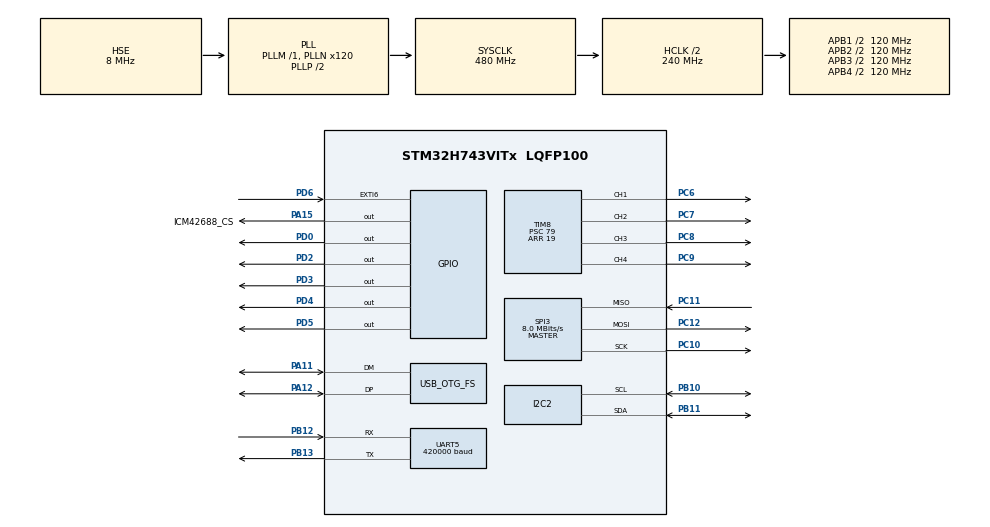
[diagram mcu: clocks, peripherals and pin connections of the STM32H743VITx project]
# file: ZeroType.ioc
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CORTEX_M7.default_mode_Activation=1
Dma.Request0=TIM8_UP
Dma.TIM8_UP.0.Direction=DMA_MEMORY_TO_PERIPH
Dma.TIM8_UP.0.EventEnable=DISABLE
Dma.TIM8_UP.0.FIFOMode=DMA_FIFOMODE_DISABLE
Dma.TIM8_UP.0.Instance=DMA1_Stream0
Dma.TIM8_UP.0.MemDataAlignment=DMA_MDATAALIGN_WORD
Dma.TIM8_UP.0.MemInc=DMA_MINC_ENABLE
Dma.TIM8_UP.0.Mode=DMA_NORMAL
Dma.TIM8_UP.0.PeriphDataAlignment=DMA_PDATAALIGN_WORD
Dma.TIM8_UP.0.PeriphInc=DMA_PINC_DISABLE
Dma.TIM8_UP.0.Polarity=HAL_DMAMUX_REQ_GEN_RISING
Dma.TIM8_UP.0.Priority=DMA_PRIORITY_VERY_HIGH
Dma.TIM8_UP.0.RequestNumber=1
Dma.TIM8_UP.0.SignalID=NONE
Dma.TIM8_UP.0.SyncEnable=DISABLE
Dma.TIM8_UP.0.SyncPolarity=HAL_DMAMUX_SYNC_NO_EVENT
Dma.TIM8_UP.0.SyncRequestNumber=1
Dma.TIM8_UP.0.SyncSignalID=NONE
I2C2.Timing=0x307075B1
Mcu.Family=STM32H7
Mcu.Name=STM32H743VITx
Mcu.Package=LQFP100
NVIC.DMA1_Stream0_IRQn=true\:6\:0\:true\:false\:true\:false\:true\:true
NVIC.EXTI9_5_IRQn=true\:6\:0\:true\:false\:true\:true\:true\:true
NVIC.OTG_FS_IRQn=true\:6\:0\:true\:false\:true\:false\:true\:true
NVIC.PriorityGroup=NVIC_PRIORITYGROUP_4
NVIC.TIM6_DAC_IRQn=true\:15\:0\:false\:false\:true\:false\:true\:true
NVIC.TimeBase=TIM6_DAC_IRQn
NVIC.TimeBaseIP=TIM6
NVIC.UART5_IRQn=true\:1\:0\:true\:false\:true\:true\:true\:true
PA11.Mode=Device_Only
PA11.Signal=USB_OTG_FS_DM
PA12.Mode=Device_Only
PA12.Signal=USB_OTG_FS_DP
PA13\ (JTMS/SWDIO).Mode=Serial_Wire
PA13\ (JTMS/SWDIO).Signal=DEBUG_JTMS-SWDIO
PA14\ (JTCK/SWCLK).Mode=Serial_Wire
PA14\ (JTCK/SWCLK).Signal=DEBUG_JTCK-SWCLK
PA15\ (JTDI).GPIO_Label=ICM42688_CS
PA15\ (JTDI).GPIO_Speed=GPIO_SPEED_FREQ_VERY_HIGH
PA15\ (JTDI).PinState=GPIO_PIN_SET
PA15\ (JTDI).Signal=GPIO_Output
PB10.Mode=I2C
PB10.Signal=I2C2_SCL
PB11.Mode=I2C
PB11.Signal=I2C2_SDA
PB12.GPIO_Speed=GPIO_SPEED_FREQ_VERY_HIGH
PB12.Mode=Asynchronous
PB12.Signal=UART5_RX
PB13.GPIO_Speed=GPIO_SPEED_FREQ_VERY_HIGH
PB13.Mode=Asynchronous
PB13.Signal=UART5_TX
PC10.GPIO_Speed=GPIO_SPEED_FREQ_VERY_HIGH
PC10.Mode=Full_Duplex_Master
PC10.Signal=SPI3_SCK
PC11.GPIO_Speed=GPIO_SPEED_FREQ_VERY_HIGH
PC11.Mode=Full_Duplex_Master
PC11.Signal=SPI3_MISO
PC12.GPIO_Speed=GPIO_SPEED_FREQ_VERY_HIGH
PC12.Mode=Full_Duplex_Master
PC12.Signal=SPI3_MOSI
PC6.GPIO_Speed=GPIO_SPEED_FREQ_VERY_HIGH
PC6.Signal=S_TIM8_CH1
PC7.GPIO_Speed=GPIO_SPEED_FREQ_VERY_HIGH
PC7.Signal=S_TIM8_CH2
PC8.GPIO_Speed=GPIO_SPEED_FREQ_VERY_HIGH
PC8.Signal=S_TIM8_CH3
PC9.GPIO_Speed=GPIO_SPEED_FREQ_VERY_HIGH
PC9.Signal=S_TIM8_CH4
PD0.Signal=GPIO_Output
PD2.Signal=GPIO_Output
PD3.Signal=GPIO_Output
PD4.Signal=GPIO_Output
PD5.Signal=GPIO_Output
PD6.Signal=GPXTI6
PH0-OSC_IN\ (PH0).Mode=HSE-External-Oscillator
PH0-OSC_IN\ (PH0).Signal=RCC_OSC_IN
PH1-OSC_OUT\ (PH1).Mode=HSE-External-Oscillator
PH1-OSC_OUT\ (PH1).Signal=RCC_OSC_OUT
ProjectManager.HeapSize=0x1000
ProjectManager.StackSize=0x1000
ProjectManager.TargetToolchain=CMake
RCC.ADCFreq_Value=16125000
RCC.APB1Freq_Value=120000000
RCC.APB2Freq_Value=120000000
RCC.APB3Freq_Value=120000000
RCC.APB4Freq_Value=120000000
RCC.CortexFreq_Value=480000000
RCC.D1PPRE=RCC_APB3_DIV2
RCC.D2PPRE1=RCC_APB1_DIV2
RCC.D2PPRE2=RCC_APB2_DIV2
RCC.D3PPRE=RCC_APB4_DIV2
RCC.DIVM1=1
RCC.DIVN1=120
RCC.DIVQ1=15
RCC.HCLKFreq_Value=240000000
RCC.HPRE=RCC_HCLK_DIV2
RCC.HSE_VALUE=8000000
RCC.PLL2FRACN=0
RCC.PLL3FRACN=0
RCC.PLLFRACN=0
RCC.PLLSourceVirtual=RCC_PLLSOURCE_HSE
RCC.SYSCLKFreq_VALUE=480000000
RCC.SYSCLKSource=RCC_SYSCLKSOURCE_PLLCLK
RCC.USBCLockSelection=RCC_USBCLKSOURCE_HSI48
RCC.USBFreq_Value=48000000
SH.S_TIM8_CH1.0=TIM8_CH1,PWM Generation1 CH1
SH.S_TIM8_CH2.0=TIM8_CH2,PWM Generation2 CH2
SH.S_TIM8_CH3.0=TIM8_CH3,PWM Generation3 CH3
SH.S_TIM8_CH4.0=TIM8_CH4,PWM Generation4 CH4
SPI3.BaudRatePrescaler=SPI_BAUDRATEPRESCALER_8
SPI3.CalculateBaudRate=8.0 MBits/s
SPI3.DataSize=SPI_DATASIZE_8BIT
SPI3.Direction=SPI_DIRECTION_2LINES
SPI3.Mode=SPI_MODE_MASTER
SPI3.VirtualType=VM_MASTER
TIM8.Channel-PWM\ Generation1\ CH1=TIM_CHANNEL_1
TIM8.Channel-PWM\ Generation2\ CH2=TIM_CHANNEL_2
TIM8.Channel-PWM\ Generation3\ CH3=TIM_CHANNEL_3
TIM8.Channel-PWM\ Generation4\ CH4=TIM_CHANNEL_4
TIM8.Period=19
TIM8.Prescaler=79
UART5.BaudRate=420000
USB_DEVICE.CLASS_NAME_FS=CDC
USB_DEVICE.VirtualMode-CDC_FS=Cdc
USB_DEVICE.VirtualModeFS=Cdc_FS
USB_OTG_FS.VirtualMode=Device_Only
VP_MEMORYMAP_VS_MEMORYMAP.Mode=CurAppReg
VP_SYS_VS_tim6.Mode=TIM6
VP_TIM8_VS_ClockSourceINT.Mode=Internal
VP_USB_DEVICE_VS_USB_DEVICE_CDC_FS.Mode=CDC_FS
board=custom

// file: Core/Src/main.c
/* USER CODE BEGIN Header */
/**
  ******************************************************************************
  * @file           : main.c
  * @brief          : Main program body
  ******************************************************************************
  * @attention
  *
  * Copyright (c) 2026 STMicroelectronics.
  * All rights reserved.
  *
  * This software is licensed under terms that can be found in the LICENSE file
  * in the root directory of this software component.
  * If no LICENSE file comes with this software, it is provided AS-IS.
  *
  ******************************************************************************
  */
/* USER CODE END Header */
#include "main.h"
#include "dma.h"
#include "i2c.h"
#include "spi.h"
#include "tim.h"
#include "usart.h"
#include "usb_device.h"
#include "gpio.h"

/* USER CODE BEGIN Includes */
#include "ICM42688.h"
#include "app_task.h"
#include "Dshot.h"
#include "MahonyAHRS.h"
#include "crsf.h"
#include "Control.h"
/* USER CODE END Includes */

/* USER CODE BEGIN PTD */
ICM42688_Status imu_status;
/* USER CODE END PTD */

/* USER CODE BEGIN PV */
volatile uint32_t g_boot_stage = 0;
volatile uint32_t g_error_stage = 0;
volatile uint32_t g_error_handler = 0;
volatile uint32_t g_fault_cfsr = 0;
volatile uint32_t g_fault_hfsr = 0;
volatile uint32_t g_fault_bfar = 0;
volatile uint32_t g_fault_mmfar = 0;

/* USER CODE END PV */

void SystemClock_Config(void);
static void MPU_Config(void);

/* USER CODE BEGIN 0 */
#define BOOT_MARK(stage)     \
  do                         \
  {                          \
    g_boot_stage = (stage);  \
    __DSB();                 \
    __ISB();                 \
  } while (0)

/* USER CODE END 0 */

int main(void)
{

  /* MPU Configuration--------------------------------------------------------*/
  MPU_Config();

  /* MCU Configuration--------------------------------------------------------*/

  /* Reset of all peripherals, Initializes the Flash interface and the Systick. */
  HAL_Init();

  /* USER CODE BEGIN Init */
  SCB_EnableDCache();
  SCB_EnableICache();

  /* USER CODE END Init */

  /* Configure the system clock */
  SystemClock_Config();

  /* Initialize all configured peripherals */
  MX_GPIO_Init();
  MX_DMA_Init();
  MX_SPI3_Init();
  MX_USB_DEVICE_Init();
  MX_TIM8_Init();
  MX_UART5_Init();
  MX_I2C2_Init();
  /* USER CODE BEGIN 2 */
  __HAL_RCC_D2SRAM1_CLK_ENABLE();
  __HAL_RCC_D2SRAM2_CLK_ENABLE();
  __HAL_RCC_D2SRAM3_CLK_ENABLE();

  __DSB();
  __ISB();
  CRSF_Init();
  Dshot_Init();
  Control_Init();
  imu_status = ICM42688_Init();
  if (imu_status == ICM42688_OK)
  {
    /* 上电时飞机必须静止，这一步采集gyro零偏，后续ConvertRaw会自动减掉bias。 */
    imu_status = ICM42688_CalibrateBias();
  }
  MahonyAHRS_init(2.0f, 0.0f);
  prvInitialiseTaskLists();
  AppTaskInit();
  vTaskStartScheduler();
  /* USER CODE END 2 */

  /* Infinite loop */
  /* USER CODE BEGIN WHILE */
  while (1)
  {
    HAL_GPIO_TogglePin(GPIOD, GPIO_PIN_4);
    /* USER CODE END WHILE */

  }
}

void SystemClock_Config(void)
{
  RCC_OscInitTypeDef RCC_OscInitStruct = {0};
  RCC_ClkInitTypeDef RCC_ClkInitStruct = {0};

  /** Supply configuration update enable
  */
  HAL_PWREx_ConfigSupply(PWR_LDO_SUPPLY);

  /** Configure the main internal regulator output voltage
  */
  __HAL_PWR_VOLTAGESCALING_CONFIG(PWR_REGULATOR_VOLTAGE_SCALE0);

  while(!__HAL_PWR_GET_FLAG(PWR_FLAG_VOSRDY)) {}

  /** Initializes the RCC Oscillators according to the specified parameters
  * in the RCC_OscInitTypeDef structure.
  */
  RCC_OscInitStruct.OscillatorType = RCC_OSCILLATORTYPE_HSI48|RCC_OSCILLATORTYPE_HSE;
  RCC_OscInitStruct.HSEState = RCC_HSE_ON;
  RCC_OscInitStruct.HSI48State = RCC_HSI48_ON;
  RCC_OscInitStruct.PLL.PLLState = RCC_PLL_ON;
  RCC_OscInitStruct.PLL.PLLSource = RCC_PLLSOURCE_HSE;
  RCC_OscInitStruct.PLL.PLLM = 1;
  RCC_OscInitStruct.PLL.PLLN = 120;
  RCC_OscInitStruct.PLL.PLLP = 2;
  RCC_OscInitStruct.PLL.PLLQ = 15;
  RCC_OscInitStruct.PLL.PLLR = 2;
  RCC_OscInitStruct.PLL.PLLRGE = RCC_PLL1VCIRANGE_3;
  RCC_OscInitStruct.PLL.PLLVCOSEL = RCC_PLL1VCOWIDE;
  RCC_OscInitStruct.PLL.PLLFRACN = 0;
  if (HAL_RCC_OscConfig(&RCC_OscInitStruct) != HAL_OK)
  {
    Error_Handler();
  }

  /** Initializes the CPU, AHB and APB buses clocks
  */
  RCC_ClkInitStruct.ClockType = RCC_CLOCKTYPE_HCLK|RCC_CLOCKTYPE_SYSCLK
                              |RCC_CLOCKTYPE_PCLK1|RCC_CLOCKTYPE_PCLK2
                              |RCC_CLOCKTYPE_D3PCLK1|RCC_CLOCKTYPE_D1PCLK1;
  RCC_ClkInitStruct.SYSCLKSource = RCC_SYSCLKSOURCE_PLLCLK;
  RCC_ClkInitStruct.SYSCLKDivider = RCC_SYSCLK_DIV1;
  RCC_ClkInitStruct.AHBCLKDivider = RCC_HCLK_DIV2;
  RCC_ClkInitStruct.APB3CLKDivider = RCC_APB3_DIV2;
  RCC_ClkInitStruct.APB1CLKDivider = RCC_APB1_DIV2;
  RCC_ClkInitStruct.APB2CLKDivider = RCC_APB2_DIV2;
  RCC_ClkInitStruct.APB4CLKDivider = RCC_APB4_DIV2;

  if (HAL_RCC_ClockConfig(&RCC_ClkInitStruct, FLASH_LATENCY_4) != HAL_OK)
  {
    Error_Handler();
  }
}

 /* MPU Configuration */

void MPU_Config(void)
{
  MPU_Region_InitTypeDef MPU_InitStruct = {0};

  /* Disables the MPU */
  HAL_MPU_Disable();

  /** Initializes and configures the Region and the memory to be protected
  */
  MPU_InitStruct.Enable = MPU_REGION_ENABLE;
  MPU_InitStruct.Number = MPU_REGION_NUMBER0;
  MPU_InitStruct.BaseAddress = 0x0;
  MPU_InitStruct.Size = MPU_REGION_SIZE_4GB;
  MPU_InitStruct.SubRegionDisable = 0x87;
  MPU_InitStruct.TypeExtField = MPU_TEX_LEVEL0;
  MPU_InitStruct.AccessPermission = MPU_REGION_NO_ACCESS;
  MPU_InitStruct.DisableExec = MPU_INSTRUCTION_ACCESS_DISABLE;
  MPU_InitStruct.IsShareable = MPU_ACCESS_SHAREABLE;
  MPU_InitStruct.IsCacheable = MPU_ACCESS_NOT_CACHEABLE;
  MPU_InitStruct.IsBufferable = MPU_ACCESS_NOT_BUFFERABLE;

  HAL_MPU_ConfigRegion(&MPU_InitStruct);
  /* Enables the MPU */
  HAL_MPU_Enable(MPU_PRIVILEGED_DEFAULT);

}

void HAL_TIM_PeriodElapsedCallback(TIM_HandleTypeDef *htim)
{
  if (htim->Instance == TIM6)
  {
    HAL_IncTick();
  }
}

void Error_Handler(void)
{
  /* USER CODE BEGIN Error_Handler_Debug */
  /* User can add his own implementation to report the HAL error return state */
  g_error_stage = g_boot_stage;
  g_error_handler = 1;
  g_fault_cfsr = SCB->CFSR;
  g_fault_hfsr = SCB->HFSR;
  g_fault_bfar = SCB->BFAR;
  g_fault_mmfar = SCB->MMFAR;

  __disable_irq();
   while (1)
   {
   }
  /* USER CODE END Error_Handler_Debug */
}
